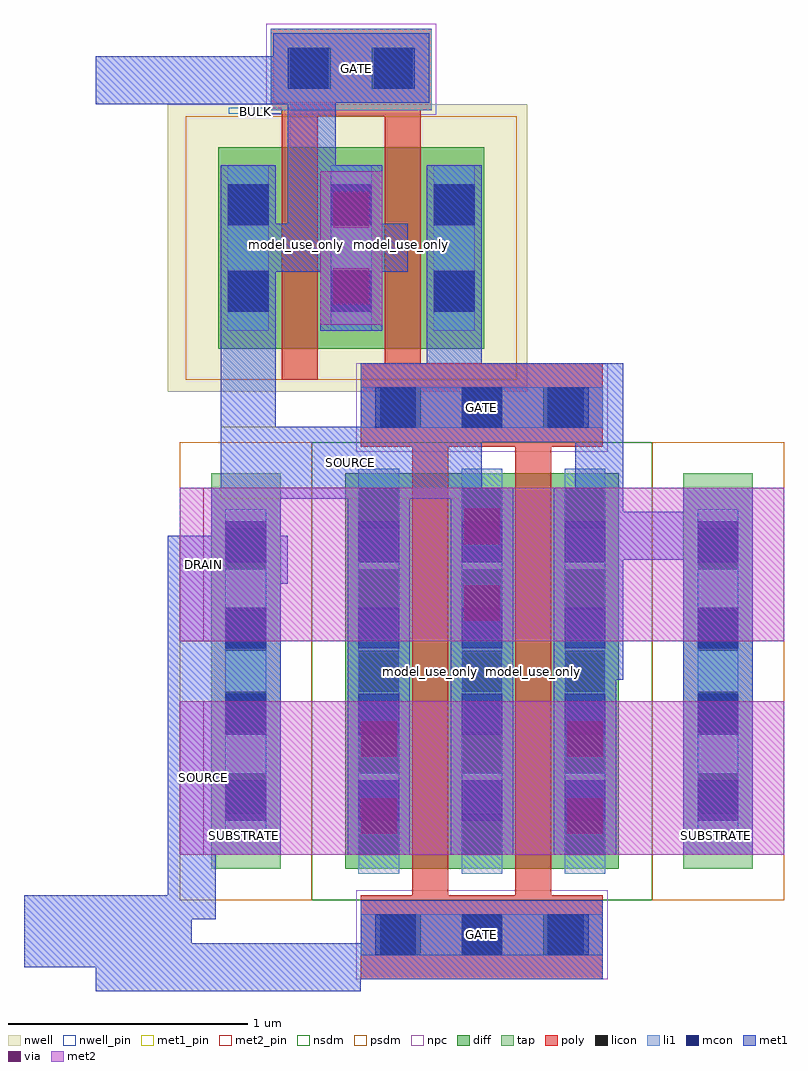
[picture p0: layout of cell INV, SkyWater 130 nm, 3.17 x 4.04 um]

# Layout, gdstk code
import gdstk
lib = gdstk.Library(unit=1e-6, precision=1e-09)
def R(c, l, rs):  # rectangles x0, y0, x1, y1
    for r in rs: c.add(gdstk.rectangle(r[:2], r[2:], *l))
def A(c, l, x, y, w, h, nx, ny, dx, dy):  # array of equal rectangles
    R(c, l, [(x+i*dx, y+j*dy, x+i*dx+w, y+j*dy+h) for i in range(nx) for j in range(ny)])
nwell_pin = (64, 16)
nwell = (64, 20)
diff = (65, 20)
tap = (65, 44)
poly = (66, 20)
licon = (66, 44)
li1 = (67, 20)
mcon = (67, 44)
met1_pin = (68, 16)
met1 = (68, 20)
via = (68, 44)
met2_pin = (69, 16)
met2 = (69, 20)
nsdm = (93, 44)
psdm = (94, 20)
npc = (95, 20)

inv = lib.new_cell('INV')
R(inv, nwell_pin, [(2.755,4.16,2.975,4.185)])
R(inv, nwell, [(2.5,3,4,4.2)])
R(inv, diff, [(3.24,1.01,4.38,2.66), (2.71,3.18,2.975,4.02), (2.74,3.18,2.975,4.02), (2.975,3.18,3.125,4.02), (3.125,3.18,3.405,4.02), (3.405,3.18,3.555,4.02), (3.555,3.18,3.82,4.02), (3.555,3.18,3.82,4.02)])
R(inv, tap, [(2.68,1.01,2.97,2.66), (4.65,1.01,4.94,2.66)])
R(inv, poly, [(3.305,0.55,4.315,0.9), (3.52,0.9,3.67,2.77), (3.95,0.9,4.1,2.77), (3.305,2.77,4.315,3.12), (2.975,3.05,3.125,3.18), (2.975,3.05,3.125,4.15), (3.405,3.05,3.555,3.18), (3.405,3.05,3.555,4.15), (2.975,4.02,3.125,4.15), (3.405,4.02,3.555,4.15), (2.975,4.15,3.555,4.515), (2.93,4.175,3.6,4.515)])
A(inv, licon, 3.385, 0.65, 0.17, 0.17, 3, 2, 0.34, 2.2)
A(inv, licon, 3.295, 1.07, 0.17, 0.17, 3, 5, 0.43, 0.34)
A(inv, licon, 2.74, 1.24, 0.17, 0.17, 1, 4, 0, 0.34)
A(inv, licon, 4.71, 1.24, 0.17, 0.17, 1, 4, 0, 0.34)
A(inv, licon, 2.75, 3.335, 0.17, 0.17, 3, 2, 0.43, 0.36)
R(inv, licon, [(3.01,4.265,3.18,4.435), (3.35,4.265,3.52,4.435)])
A(inv, li1, 3.295, 0.99, 0.17, 1.69, 3, 1, 0.43, 0)
A(inv, li1, 2.75, 3.255, 0.17, 0.69, 3, 1, 0.43, 0)
R(inv, li1, [(3.305,0.65,4.315,0.82), (3.365,0.65,4.255,0.82), (2.74,1.16,2.91,2.51), (4.71,1.16,4.88,2.51), (3.305,2.85,4.315,3.02), (3.365,2.85,4.255,3.02), (2.93,4.175,3.6,4.515), (3,4.265,3.53,4.435)])
A(inv, mcon, 3.365, 0.65, 0.17, 0.17, 3, 2, 0.36, 2.2)
A(inv, mcon, 2.74, 1.21, 0.17, 0.17, 1, 4, 0, 0.36)
A(inv, mcon, 3.295, 1.21, 0.17, 0.17, 3, 4, 0.43, 0.36)
A(inv, mcon, 4.71, 1.21, 0.17, 0.17, 1, 4, 0, 0.36)
A(inv, mcon, 2.75, 3.335, 0.17, 0.17, 3, 2, 0.43, 0.36)
R(inv, mcon, [(3,4.265,3.17,4.435), (3.36,4.265,3.53,4.435)])
R(inv, met1_pin, [(3.305,0.55,4.315,0.88), (2.68,1.07,2.97,1.15), (4.65,1.07,4.94,1.15), (2.72,2.555,3.81,2.855), (3.305,2.79,4.315,3.12), (2.94,4.205,3.59,4.495)])
A(inv, met1, 3.25, 1.07, 0.26, 1.53, 3, 1, 0.43, 0)
R(inv, met1, [(2.2,0.5,2.5,0.7), (2.2,0.5,3.305,0.7), (3.305,0.55,4.315,0.88), (1.9,0.6,2.6,0.9), (2.5,0.8,2.7,2.3), (2.68,1.07,2.97,2.6), (4.65,1.07,4.94,2.6), (4.2,1.8,4.4,2.6), (2.5,2.2,3,2.4), (4.4,2.3,4.7,2.5), (4.2,2.4,4.4,2.9), (3.305,2.79,4.315,3.12), (4.2,2.85,4.4,3.12), (3.135,3.275,3.395,3.925), (2.9,3.5,3.5,3.7), (3,3.7,3.2,4.2), (2.2,4.2,3.2,4.4), (2.94,4.205,3.59,4.495)])
R(inv, via, [(3.305,1.155,3.455,1.305), (4.165,1.155,4.315,1.305), (3.305,1.475,3.455,1.625), (4.165,1.475,4.315,1.625), (3.735,2.045,3.885,2.195), (3.735,2.365,3.885,2.515), (3.19,3.365,3.34,3.515), (3.19,3.685,3.34,3.835)])
R(inv, met2_pin, [(2.55,1.07,2.65,1.71), (2.55,1.96,2.65,2.6), (3.135,3.28,3.395,3.92)])
R(inv, met2, [(2.55,1.07,5.07,1.71), (2.55,1.96,5.07,2.6), (3.135,3.28,3.395,3.92)])
R(inv, nsdm, [(3.1,0.88,4.52,2.79)])
R(inv, psdm, [(2.55,0.88,3.1,2.79), (4.52,0.88,5.07,2.79), (2.575,3.05,3.105,4.15), (2.74,3.05,3.125,4.15), (2.995,3.05,3.535,4.15), (3.155,3.05,3.555,4.15), (3.425,3.05,3.955,4.15)])
R(inv, npc, [(3.285,0.55,4.335,0.92), (3.285,2.75,4.335,3.12), (2.91,4.155,3.62,4.535)])
inv.add(gdstk.FlexPath([(2.835,3.945),(2.835,2.555)], 0.23, ends="flush", simple_path=True, layer=68, datatype=20))  # met1
inv.add(gdstk.FlexPath([(2.72,2.705),(3.81,2.705)], 0.3, ends="flush", simple_path=True, layer=68, datatype=20))  # met1
inv.add(gdstk.FlexPath([(3.265,3.945),(3.265,3.255)], 0.26, ends="flush", simple_path=True, layer=68, datatype=20))  # met1
inv.add(gdstk.FlexPath([(3.695,3.945),(3.695,2.555)], 0.23, ends="flush", simple_path=True, layer=68, datatype=20))  # met1
inv.add(gdstk.Label('model_use_only', (3.035,3.615), layer=66, texttype=83))
inv.add(gdstk.Label('model_use_only', (3.475,3.615), layer=66, texttype=83))
inv.add(gdstk.Label('model_use_only', (3.595,1.835), layer=66, texttype=83))
inv.add(gdstk.Label('model_use_only', (4.025,1.835), layer=66, texttype=83))
inv.add(gdstk.Label('DRAIN', (3.26,3.6), layer=69, texttype=16))
inv.add(gdstk.Label('SOURCE', (3.26,2.705), layer=68, texttype=16))
inv.add(gdstk.Label('GATE', (3.285,4.35), layer=68, texttype=16))
inv.add(gdstk.Label('BULK', (2.865,4.17), layer=64, texttype=5))
inv.add(gdstk.Label('DRAIN', (2.65,2.28), layer=69, texttype=5))
inv.add(gdstk.Label('SOURCE', (2.65,1.39), layer=69, texttype=5))
inv.add(gdstk.Label('GATE', (3.81,2.935), layer=68, texttype=5))
inv.add(gdstk.Label('SUBSTRATE', (2.82,1.15), layer=68, texttype=5))
inv.add(gdstk.Label('GATE', (3.81,0.735), layer=68, texttype=5))
inv.add(gdstk.Label('SUBSTRATE', (4.79,1.15), layer=68, texttype=5))

lib.write_gds('INV.gds')
